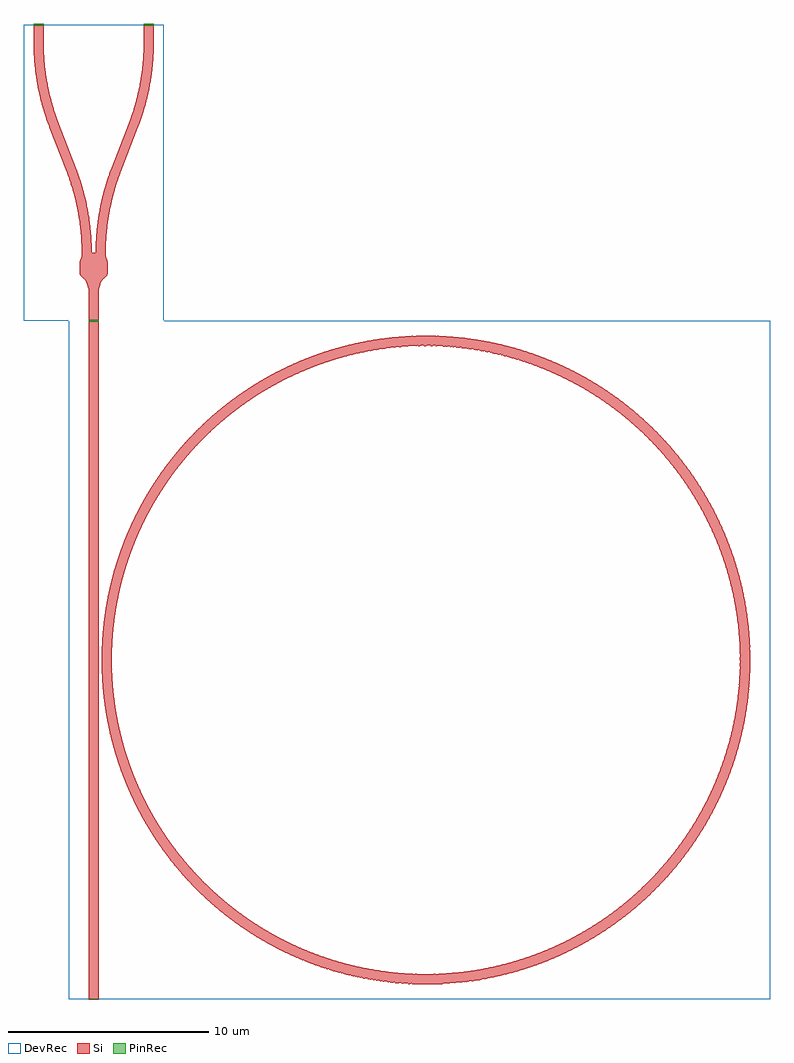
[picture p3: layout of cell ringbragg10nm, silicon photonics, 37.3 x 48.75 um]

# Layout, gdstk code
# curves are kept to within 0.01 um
from math import pi, radians
import gdstk
lib = gdstk.Library(unit=1e-6, precision=1e-09)
def R(c, l, rs):  # rectangles x0, y0, x1, y1
    for r in rs: c.add(gdstk.rectangle(r[:2], r[2:], *l))
def P(c, l, *ps):  # polygons
    for p in ps: c.add(gdstk.Polygon(p, *l))
Si = (1, 0)
PinRec = (1, 10)
DevRec = (68, 0)

ebeam_y_1550 = lib.new_cell('ebeam_y_1550')
R(ebeam_y_1550, Si, [(6.5,-3,7.4,-2.5), (-7.4,-0.25,-6,0.25), (6.5,2.5,7.4,3)])
P(ebeam_y_1550, Si, [(6.458,-3),(6.237,-2.997),(6.237,-2.497),(6.5,-2.5),(6.5,-3)],
  [(2.265,-2.21),(0.055,-1.356),(0.235,-0.89),(2.445,-1.744)],
  [(5.033,-2.908),(4.288,-2.79),(3.59,-2.634),(2.922,-2.442),(2.265,-2.21),(2.445,-1.744),(3.075,-1.966),(3.731,-2.154),(4.372,-2.297),(5.033,-2.404)],
  [(-0.762,0.555),(-0.762,1.076),(0.055,1.356),(0.235,0.89),(-0.263,0.71)],
  [(6.233,-2.997),(5.619,-2.967),(5.033,-2.908),(5.033,-2.404),(5.625,-2.466),(6.237,-2.497)],
  [(0.235,0.89),(0.055,1.356),(2.265,2.21),(2.445,1.744)],
  [(-5.122,-0.662),(-5.344,-0.44),(-5.442,-0.374),(-5.808,-0.255),(-6,-0.25),(-6,0.25),(-5.817,0.253),(-5.442,0.374),(-5.344,0.44),(-5.122,0.662)],
  [(-4.957,-0.703),(-5.047,-0.692),(-5.122,-0.662),(-5.122,0.662),(-4.978,0.702),(-4.538,0.703),(-4.424,0.685),(-4.167,0.6),(-4,0.6),(-4,-0.6),(-4.167,-0.6),(-4.509,-0.701)],
  [(0.055,-1.356),(-0.762,-1.076),(-0.762,-0.555),(-0.263,-0.71),(0.235,-0.89)],
  [(6.237,2.497),(6.237,2.997),(6.5,3),(6.5,2.5)],
  [(-0.762,-1.076),(-1.532,-0.874),(-2.334,-0.724),(-3.178,-0.63),(-4,-0.6),(-4,-0.1),(-3.16,-0.13),(-2.381,-0.212),(-1.565,-0.355),(-0.762,-0.555)],
  [(5.033,2.404),(5.033,2.908),(5.619,2.967),(6.237,2.997),(6.237,2.497),(5.625,2.466)],
  [(2.445,1.744),(2.267,2.211),(2.922,2.442),(3.59,2.634),(4.288,2.79),(5.033,2.908),(5.033,2.404),(4.372,2.297),(3.731,2.154),(3.075,1.966)],
  [(-4,0.1),(-4,0.6),(-3.178,0.63),(-2.334,0.724),(-1.532,0.874),(-0.762,1.076),(-0.762,0.555),(-1.565,0.355),(-2.381,0.212),(-3.16,0.13)])
R(ebeam_y_1550, DevRec, [(-7.4,-3.5,7.4,3.5)])
ebeam_y_1550.add(gdstk.FlexPath([(7.35,-2.75),(7.45,-2.75)], 0.5, ends="flush", simple_path=True, layer=1, datatype=10))  # PinRec
ebeam_y_1550.add(gdstk.FlexPath([(7.35,2.75),(7.45,2.75)], 0.5, ends="flush", simple_path=True, layer=1, datatype=10))  # PinRec
ebeam_y_1550.add(gdstk.FlexPath([(-7.35,0),(-7.45,0)], 0.5, ends="flush", simple_path=True, layer=1, datatype=10))  # PinRec
ebeam_y_1550.add(gdstk.Label('opt1', (-7.4,0), layer=1, texttype=10))
ebeam_y_1550.add(gdstk.Label('opt3', (7.4,-2.75), layer=1, texttype=10))
ebeam_y_1550.add(gdstk.Label('opt2', (7.4,2.75), layer=1, texttype=10))
ebeam_y_1550.add(gdstk.Label('Lumerical_INTERCONNECT_library=Design kits/ebeam', (-6.86,-2.19), layer=68, texttype=0))
ebeam_y_1550.add(gdstk.Label('Component=ebeam_y_1550', (-6,1.5), layer=68, texttype=0))
ebeam_y_1550.add(gdstk.Label('Ref: Y Zhang, Opt. Express, 21/1, 2013', (-7.5,-1), layer=10, texttype=0))

ring_10nm_rectangular_ce = lib.new_cell('ring_10nm_rectangular_center_min_0ac1c5e2_001')
R(ring_10nm_rectangular_ce, Si, [(-16.843,-16.943,-16.343,16.943)])
P(ring_10nm_rectangular_ce, Si, [(3.963,15.174),(3.757,15.237),(3.62,15.259),(3.608,15.273),(3.1,15.384),(3.095,15.374),(3.02,15.389),(2.984,15.407),(1.94,15.572),(2.002,16.069),(2.224,16.05),(2.253,16.035),(2.865,15.948),(3.416,15.828),(3.431,15.836),(4.095,15.677)],
  [(9.492,12.484),(9.482,12.505),(9.236,12.674),(9.226,12.695),(8.825,12.977),(8.728,13.029),(8.7,13.061),(7.778,13.63),(8.026,14.064),(8.255,13.943),(8.83,13.586),(8.839,13.567),(9.362,13.225),(9.378,13.2),(9.807,12.898)],
  [(6.563,-14.803),(6.36,-14.346),(6.782,-14.14),(6.843,-14.123),(7.254,-13.916),(7.252,-13.905),(7.336,-13.861),(7.359,-13.861),(8.187,-13.388),(8.448,-13.815),(8.424,-13.841),(7.512,-14.357),(7.485,-14.359),(6.925,-14.649),(6.904,-14.647),(6.716,-14.734),(6.709,-14.749)],
  [(-15.587,1.822),(-16.083,1.88),(-16.088,1.924),(-15.99,2.553),(-15.999,2.564),(-15.988,2.565),(-15.945,2.88),(-15.933,2.887),(-15.876,3.186),(-15.886,3.191),(-15.873,3.201),(-15.81,3.499),(-15.819,3.507),(-15.737,3.814),(-15.746,3.822),(-15.698,3.973),(-15.213,3.851),(-15.427,2.879)],
  [(-4.195,15.122),(-4.329,15.603),(-3.872,15.734),(-3.269,15.859),(-3.265,15.871),(-2.596,15.994),(-2.565,15.988),(-2.253,16.046),(-2.245,16.036),(-2.177,15.531),(-2.462,15.499),(-2.487,15.484),(-2.573,15.481),(-3.096,15.385),(-3.105,15.372),(-3.307,15.341),(-3.46,15.296),(-3.483,15.302)],
  [(11.054,11.138),(10.641,11.535),(10.3,11.84),(10.228,11.888),(10.195,11.931),(9.824,12.238),(9.741,12.29),(9.725,12.317),(9.492,12.484),(9.807,12.898),(10.621,12.237),(10.632,12.213),(11.096,11.808),(11.407,11.493)],
  [(-16.191,-0.245),(-16.2,0.322),(-16.189,0.331),(-16.164,0.961),(-16.174,0.964),(-16.113,1.602),(-16.123,1.606),(-16.084,1.877),(-15.587,1.822),(-15.673,0.798),(-15.691,-0.238)],
  [(-13.688,7.674),(-14.125,7.919),(-14.09,8.001),(-14.075,8.006),(-13.931,8.254),(-13.934,8.27),(-13.594,8.798),(-13.593,8.819),(-13.569,8.836),(-13.227,9.359),(-13.206,9.37),(-13.047,9.59),(-13.045,9.611),(-12.964,9.703),(-12.564,9.403),(-13.133,8.591)],
  [(11.75,-11.143),(11.387,-10.799),(11.801,-10.345),(12.167,-9.912),(12.44,-9.567),(12.51,-9.457),(12.533,-9.445),(12.697,-9.206),(13.118,-9.511),(12.471,-10.345),(12.057,-10.825)],
  [(5.923,14.532),(4.957,14.89),(4.362,15.075),(3.963,15.174),(4.095,15.677),(4.661,15.507),(4.676,15.514),(5.276,15.309),(5.297,15.313),(5.865,15.093),(5.895,15.093),(6.112,14.995)],
  [(-14.577,5.813),(-15.041,5.998),(-14.937,6.252),(-14.94,6.273),(-14.929,6.271),(-14.679,6.861),(-14.659,6.878),(-14.395,7.438),(-14.38,7.444),(-14.246,7.697),(-14.254,7.705),(-14.125,7.919),(-13.688,7.674),(-14.168,6.749)],
  [(-1.772,-16.106),(-2.792,-15.961),(-2.814,-15.946),(-3.426,-15.837),(-3.43,-15.825),(-3.697,-15.776),(-3.854,-15.727),(-3.735,-15.242),(-3.145,-15.375),(-2.585,-15.479),(-1.948,-15.572),(-1.712,-15.589),(-1.758,-16.097)],
  [(-15.213,3.851),(-15.698,3.973),(-15.666,4.138),(-15.653,4.145),(-15.574,4.432),(-15.582,4.444),(-15.569,4.45),(-15.483,4.742),(-15.492,4.748),(-15.386,5.047),(-15.395,5.053),(-15.177,5.675),(-15.166,5.674),(-15.061,5.976),(-15.041,5.998),(-14.577,5.813),(-14.577,5.784),(-14.686,5.532),(-14.894,4.945),(-15.081,4.341),(-15.081,4.301),(-15.094,4.296)],
  [(15.557,2.058),(15.385,3.095),(15.371,3.11),(15.351,3.26),(15.255,3.683),(15.143,4.078),(15.645,4.213),(15.792,3.628),(15.906,3.032),(15.919,3.022),(15.997,2.578),(16.013,2.404),(16.026,2.391),(16.053,2.124)],
  [(-12.664,-10.091),(-12.943,-9.748),(-13.302,-9.233),(-13.325,-9.219),(-13.323,-9.203),(-13.508,-8.949),(-13.504,-8.936),(-13.66,-8.695),(-13.672,-8.696),(-13.877,-8.346),(-13.45,-8.085),(-12.914,-8.917),(-12.9,-8.918),(-12.882,-8.963),(-12.737,-9.168),(-12.716,-9.178),(-12.666,-9.266),(-12.273,-9.779)],
  [(0.402,-16.198),(0.368,-16.189),(0.357,-15.689),(1.441,-15.627),(2.411,-15.507),(2.488,-16.001),(2.33,-16.035),(2.316,-16.026),(2.09,-16.057),(2.067,-16.071),(1.454,-16.127),(1.443,-16.139)],
  [(1.866,15.571),(1.644,15.607),(0.991,15.662),(0.41,15.688),(-0.119,15.692),(-0.123,16.192),(-0.08,16.203),(0.213,16.191),(0.277,16.201),(0.941,16.176),(0.977,16.163),(1.591,16.125),(1.611,16.112),(1.836,16.088),(1.843,16.098),(2.002,16.069),(1.94,15.572)],
  [(15.683,0),(15.691,0.272),(15.667,0.909),(15.654,0.944),(15.622,1.495),(15.557,2.058),(16.053,2.124),(16.11,1.735),(16.152,1.288),(16.142,1.278),(16.153,1.13),(16.166,1.1),(16.203,0)],
  [(15.13,-5.769),(14.663,-5.591),(15.004,-4.6),(14.997,-4.586),(15.049,-4.45),(15.174,-4.004),(15.165,-3.995),(15.216,-3.841),(15.26,-3.618),(15.766,-3.738),(15.608,-4.352),(15.433,-4.901),(15.437,-4.924),(15.22,-5.559)],
  [(4.568,-15.546),(4.421,-15.047),(4.574,-15.012),(4.757,-14.944),(4.763,-14.953),(5.414,-14.73),(6.36,-14.346),(6.563,-14.803),(6.341,-14.911),(6.325,-14.906),(5.747,-15.15),(5.697,-15.157),(5.147,-15.364),(5.123,-15.361)],
  [(13.118,-9.511),(12.697,-9.206),(12.813,-9.061),(12.884,-8.941),(12.898,-8.94),(13.163,-8.545),(13.224,-8.43),(13.249,-8.411),(13.803,-7.466),(14.243,-7.704),(14.109,-7.968),(14.086,-7.986),(13.998,-8.161),(13.772,-8.537),(13.761,-8.534),(13.48,-8.991)],
  [(12.412,9.586),(12.291,9.758),(11.861,10.276),(11.816,10.311),(11.756,10.396),(11.454,10.728),(11.054,11.138),(11.407,11.493),(11.509,11.406),(11.701,11.193),(11.715,11.194),(12.01,10.877),(12.006,10.865),(12.134,10.722),(12.152,10.718),(12.822,9.907)],
  [(-7.983,13.51),(-8.238,13.941),(-7.766,14.221),(-7.201,14.503),(-7.203,14.514),(-6.594,14.801),(-6.338,14.901),(-6.142,14.441),(-7.101,13.995)],
  [(15.766,-3.738),(15.26,-3.618),(15.362,-3.208),(15.472,-2.625),(15.613,-1.586),(16.11,-1.636),(16.065,-2.113),(15.962,-2.723),(15.972,-2.728)],
  [(7.778,13.63),(6.824,14.132),(5.923,14.532),(6.112,14.995),(6.492,14.846),(7.052,14.576),(7.079,14.575),(8.007,14.086),(8.026,14.064)],
  [(8.448,-13.815),(8.187,-13.388),(9.07,-12.807),(9.597,-12.417),(9.611,-12.392),(9.725,-12.317),(9.866,-12.191),(10.193,-12.595),(9.683,-12.992),(9.659,-12.996),(9.215,-13.328),(8.693,-13.661),(8.676,-13.685)],
  [(10.193,-12.595),(9.866,-12.191),(10.073,-12.034),(10.093,-12.003),(10.195,-11.931),(10.532,-11.634),(10.996,-11.197),(11.018,-11.16),(11.103,-11.091),(11.387,-10.799),(11.75,-11.143),(11.607,-11.306),(11.452,-11.448),(11.455,-11.46),(11.221,-11.674),(11.226,-11.684),(11.167,-11.741),(10.997,-11.885),(10.98,-11.916)],
  [(-16.019,-2.367),(-16.068,-2.087),(-16.126,-1.465),(-16.138,-1.448),(-16.172,-0.815),(-16.183,-0.803),(-16.173,-0.793),(-16.185,-0.489),(-16.196,-0.483),(-16.191,-0.245),(-15.691,-0.238),(-15.639,-1.305),(-15.524,-2.294)],
  [(-5.884,-15.086),(-6.142,-14.994),(-6.766,-14.723),(-6.775,-14.707),(-7.337,-14.447),(-7.348,-14.429),(-7.629,-14.295),(-7.632,-14.281),(-7.812,-14.184),(-7.57,-13.746),(-6.639,-14.22),(-5.702,-14.62)],
  [(-3.857,-15.727),(-4.323,-15.616),(-4.91,-15.43),(-4.934,-15.434),(-5.882,-15.098),(-5.702,-14.62),(-4.697,-14.974),(-3.735,-15.242)],
  [(-14.852,-6.451),(-14.879,-6.416),(-14.875,-6.398),(-14.987,-6.131),(-15.004,-6.118),(-14.999,-6.102),(-15.122,-5.82),(-15.222,-5.522),(-15.233,-5.523),(-15.23,-5.499),(-15.327,-5.223),(-15.339,-5.221),(-15.429,-4.914),(-15.443,-4.905),(-15.435,-4.896),(-15.524,-4.605),(-15.536,-4.602),(-15.57,-4.447),(-15.089,-4.31),(-14.81,-5.191),(-14.615,-5.717),(-14.427,-6.176),(-14.403,-6.204),(-14.394,-6.252)],
  [(0.082,-16.203),(-0.869,-16.18),(-0.89,-16.168),(-1.487,-16.135),(-1.758,-16.097),(-1.704,-15.6),(-0.671,-15.679),(0.357,-15.689),(0.368,-16.189)],
  [(-15.57,-4.447),(-15.612,-4.297),(-15.623,-4.297),(-15.77,-3.674),(-15.784,-3.662),(-15.775,-3.654),(-15.839,-3.365),(-15.852,-3.355),(-15.844,-3.341),(-15.904,-3.043),(-15.915,-3.041),(-15.908,-3.022),(-16.024,-2.401),(-16.019,-2.367),(-15.524,-2.294),(-15.421,-2.911),(-15.405,-2.938),(-15.413,-2.951),(-15.355,-3.241),(-15.342,-3.25),(-15.347,-3.279),(-15.089,-4.31)],
  [(-13.878,-8.343),(-14.169,-7.86),(-14.17,-7.836),(-14.477,-7.278),(-14.474,-7.259),(-14.753,-6.7),(-14.747,-6.687),(-14.852,-6.451),(-14.394,-6.252),(-13.949,-7.191),(-13.45,-8.085)],
  [(-12.564,9.403),(-12.964,9.703),(-12.849,9.872),(-12.829,9.88),(-12.437,10.386),(-12.427,10.381),(-12.017,10.869),(-11.999,10.873),(-11.587,11.326),(-11.215,10.963),(-11.372,10.815),(-11.837,10.304),(-11.844,10.279),(-11.866,10.27),(-12.181,9.895)],
  [(-11.215,10.963),(-11.587,11.326),(-11.136,11.755),(-11.115,11.79),(-11.103,11.787),(-10.898,11.991),(-10.663,12.186),(-10.659,12.204),(-10.624,12.22),(-10.159,12.623),(-9.995,12.74),(-9.686,12.347),(-10.476,11.685),(-10.957,11.235)],
  [(-7.812,-14.184),(-7.902,-14.146),(-7.915,-14.126),(-8.14,-13.998),(-8.151,-14.004),(-8.734,-13.648),(-8.751,-13.624),(-9.271,-13.289),(-9.275,-13.273),(-9.517,-13.114),(-9.604,-13.037),(-9.308,-12.635),(-8.474,-13.209),(-8.458,-13.206),(-8.229,-13.363),(-7.57,-13.746)],
  [(16.11,-1.636),(15.613,-1.586),(15.678,-0.694),(15.693,-0.106),(15.683,0),(16.203,0),(16.177,-0.923),(16.128,-1.445),(16.137,-1.465)],
  [(13.571,7.881),(13.023,8.757),(12.623,9.324),(12.613,9.32),(12.533,9.445),(12.412,9.586),(12.823,9.904),(13.191,9.41),(13.539,8.902),(13.899,8.329),(14.003,8.132)],
  [(-6.125,14.437),(-6.142,14.441),(-6.338,14.901),(-6.328,14.916),(-5.382,15.283),(-4.768,15.486),(-4.75,15.48),(-4.514,15.551),(-4.514,15.562),(-4.329,15.603),(-4.195,15.122),(-5.154,14.823),(-5.763,14.597)],
  [(14.487,6.033),(14.239,6.598),(13.994,7.103),(13.678,7.694),(13.569,7.863),(13.571,7.881),(14.003,8.132),(14.198,7.808),(14.461,7.285),(14.49,7.252),(14.938,6.277),(14.949,6.225)],
  [(15.143,4.078),(15.096,4.289),(15.042,4.436),(15.049,4.45),(14.91,4.896),(14.854,5.03),(14.854,5.064),(14.487,6.033),(14.949,6.225),(15.048,6.009),(15.116,5.806),(15.13,5.799),(15.349,5.191),(15.645,4.216)],
  [(16.191,-0.254),(15.691,-0.246),(15.691,0.246),(16.191,0.254)],
  [(-2.176,15.541),(-2.242,16.037),(-1.938,16.087),(-1.922,16.078),(-1.289,16.152),(-1.279,16.142),(-0.656,16.19),(-0.634,16.18),(-0.376,16.199),(-0.123,16.192),(-0.119,15.692),(-1.125,15.653)],
  [(-9.604,-13.037),(-9.784,-12.916),(-9.79,-12.898),(-10.035,-12.722),(-10.254,-12.532),(-10.275,-12.529),(-10.78,-12.097),(-10.784,-12.079),(-11.238,-11.672),(-10.878,-11.297),(-10.778,-11.407),(-10.641,-11.52),(-10.642,-11.534),(-10.223,-11.907),(-10.2,-11.912),(-10.169,-11.953),(-9.779,-12.274),(-9.308,-12.635)],
  [(-9.686,12.347),(-9.995,12.74),(-9.645,13.02),(-9.609,13.033),(-9.123,13.391),(-8.617,13.709),(-8.587,13.741),(-8.238,13.941),(-7.983,13.51),(-8.797,12.996),(-8.81,12.974),(-9.129,12.765)],
  [(14.243,-7.704),(13.797,-7.456),(13.947,-7.195),(13.943,-7.179),(14.014,-7.063),(14.219,-6.641),(14.224,-6.604),(14.445,-6.134),(14.663,-5.591),(15.13,-5.769),(15.119,-5.827),(14.694,-6.829),(14.675,-6.844),(14.421,-7.388)],
  [(2.488,-16.001),(2.411,-15.507),(3.47,-15.305),(3.473,-15.293),(3.565,-15.283),(4.049,-15.162),(4.421,-15.047),(4.568,-15.546),(3.995,-15.692),(3.98,-15.707),(3.36,-15.84),(3.356,-15.852),(2.728,-15.961),(2.721,-15.973)],
  [(-11.238,-11.672),(-11.695,-11.215),(-12.105,-10.755),(-12.123,-10.751),(-12.522,-10.266),(-12.542,-10.259),(-12.664,-10.091),(-12.273,-9.779),(-11.575,-10.597),(-11.187,-11.006),(-11.09,-11.089),(-11.079,-11.115),(-10.878,-11.297)])
R(ring_10nm_rectangular_ce, DevRec, [(-17.843,-16.943,17.203,16.943)])
ring_10nm_rectangular_ce.add(gdstk.FlexPath([(-16.593,16.933),(-16.593,16.953)], 0.5, ends="flush", simple_path=True, layer=1, datatype=10))  # PinRec
ring_10nm_rectangular_ce.add(gdstk.FlexPath([(-16.593,-16.933),(-16.593,-16.953)], 0.5, ends="flush", simple_path=True, layer=1, datatype=10))  # PinRec
ring_10nm_rectangular_ce.add(gdstk.Label('opt1', (-16.593,16.943), layer=1, texttype=10))
ring_10nm_rectangular_ce.add(gdstk.Label('opt2', (-16.593,-16.943), layer=1, texttype=10))

ringbragg10nm = lib.new_cell('ringbragg10nm')
ringbragg10nm.add(gdstk.Reference(ebeam_y_1550, (3.5,41.296), rotation=pi/2))
ringbragg10nm.add(gdstk.Reference(ring_10nm_rectangular_ce, (20.093,16.953)))

lib.write_gds('ringbragg10nm.gds')
